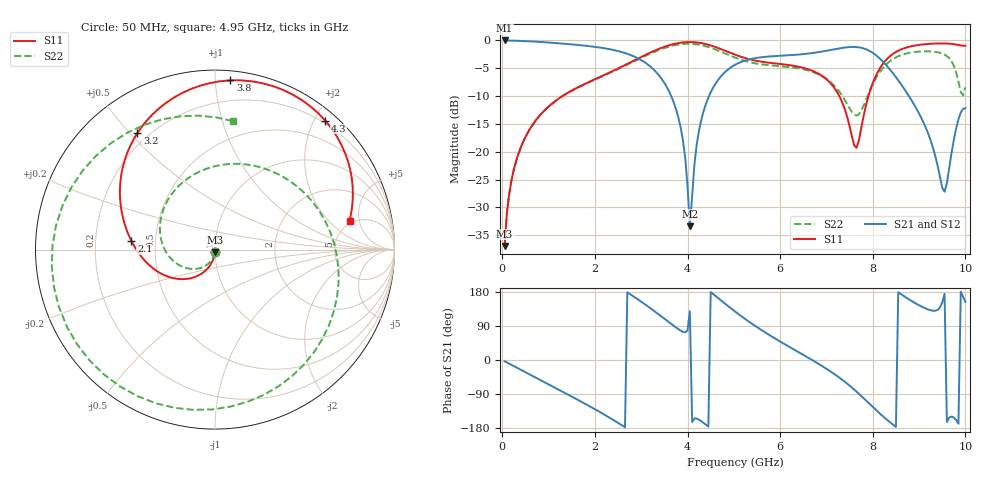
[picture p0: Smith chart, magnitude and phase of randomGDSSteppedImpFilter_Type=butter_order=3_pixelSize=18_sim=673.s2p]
! freq	dB(S11)	phase(S11)	dB(S12)	phase(S12)
!  dB(S21)	phase(S21)	dB(S22)	phase(S22)
!S-par simulation data
#  GHz  S  DB  R 50
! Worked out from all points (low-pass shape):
!   200 points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, 50 MHz to 10 GHz, reference 50 ohm
!   highest |S21| = -0.01 dB at 50 MHz (marker M1); lowest = -33.4 dB at 4.05 GHz (marker M2)
!   |S21| within 3 dB of the highest: start of sweep to 2.877 GHz; 5.611 GHz to 8.118 GHz (2.507 GHz wide, 36.5 % of centre)
!   lowest |S11| = -36.9 dB at 50 MHz (marker M3), VSWR 1.03, Z = 49.9 - j1.42 ohm
!   |S11| at or under -10 dB: start of sweep to 1.297 GHz; 7.277 GHz to 7.907 GHz (630.1 MHz wide, 8.3 % of centre)
!   |S22| runs from -37.0 to -0.6 dB; largest |S21 - S12| = 0
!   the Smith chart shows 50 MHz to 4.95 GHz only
!   S11 on the Smith chart (normalised r, x): 50 MHz: 1.00, -0.03; 2.1 GHz: 0.36, +0.04; 3.2 GHz: 0.16, +0.52; 3.8 GHz: 0.06, +1.09; 4.3 GHz: 0.16, +2.16; 4.95 GHz: 4.68, +3.62
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0.05  -36.93 -92.5  -0.01 -3.3  -0.01 -3.3  -36.97 -93.9
0.5  -17.35 -115.8  -0.12 -32.3  -0.12 -32.3  -17.36 -129.8
1.75  -7.94 -172.1  -0.91 -112.9  -0.91 -112.9  -7.99 124.7
2.1  -6.60 174.2  -1.27 -136.8  -1.27 -136.8  -6.68 90.7
2.65  -4.43 151.7  -2.27 -177.4  -2.27 -177.4  -4.56 31.6
3.2  -2.17 123.8  -4.72 136.5  -4.72 136.5  -2.36 -33.6
3.4  -1.45 111.7  -6.45 118.3  -6.45 118.3  -1.67 -58.6
3.8  -0.48 84.8  -13.78 81.6  -13.78 81.6  -0.75 -111.1
4.05  -0.29 67.0  -33.37 128.5  -33.37 128.5  -0.61 -145.6
4.3  -0.49 49.4  -14.16 -161.7  -14.16 -161.7  -0.86 178.7
4.95  -2.31 12.0  -4.76 135.0  -4.76 135.0  -2.82 82.0
5.05  -2.63 7.7  -4.27 125.7  -4.27 125.7  -3.15 67.2
5.6  -3.82 -12.2  -3.02 78.7  -3.02 78.7  -4.30 -7.7
6.7  -5.47 -60.5  -2.26 -0.7  -2.26 -0.7  -5.66 -115.8
7.65  -19.30 145.3  -1.19 -83.5  -1.19 -83.5  -13.50 -144.3
8.35  -2.99 1.2  -5.01 -162.1  -5.01 -162.1  -3.87 -161.2
8.8  -1.11 -33.4  -10.25 158.5  -10.25 158.5  -2.21 153.3
9.3  -0.58 -60.0  -19.26 130.0  -19.26 130.0  -2.01 99.8
9.55  -0.55 -71.0  -27.17 174.7  -27.17 174.7  -2.55 64.3
9.75  -0.67 -79.2  -17.87 -151.8  -17.87 -151.8  -4.54 16.3
9.9  -0.90 -84.2  -12.96 179.9  -12.96 179.9  -9.29 -67.5
10  -0.96 -86.4  -12.16 153.4  -12.16 153.4  -8.42 -159.1
